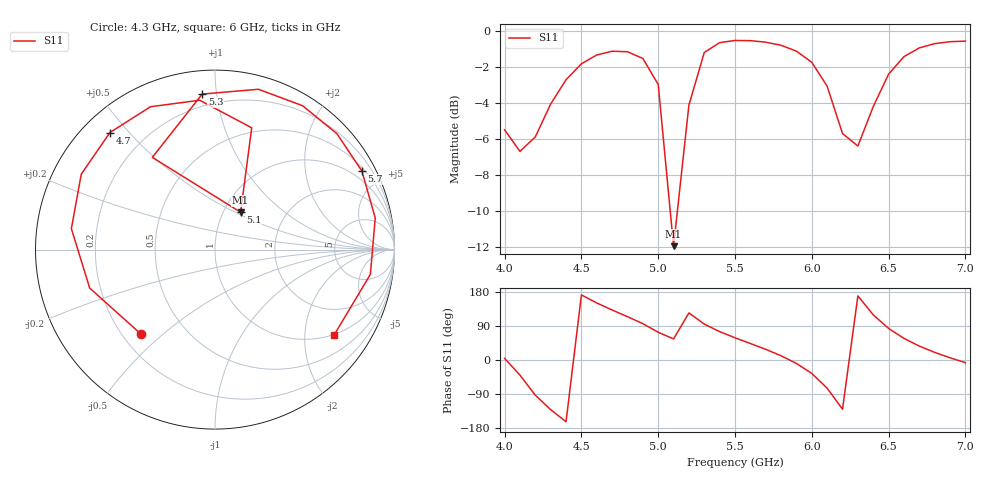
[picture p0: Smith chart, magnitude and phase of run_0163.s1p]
! Touchstone file exported from HFSS 2024.2.0
!  File:  C:/Users/wsak9/Desktop/Sim Fast/Widenad Patch/WP_AI_V1_sweep.aedt
!  Generated:  09:42:37 PM Oct 13, 2026
!  Design:  A1_model
!  Project:  WP_AI_V1_sweep
!  Setup:  Setup1
!  Solution:  Sweep
! Variables:
!  Air_gap = 3.4mm
!  Curve_Amp1 = 3.26
!  Curve_len1 = 1
!  Curve_pos = 11.685mm
!  Extra = 6.96mm
!  H_sub = 0.79mm
!  L_Patch = 19.37mm
!  L_Patch1 = 22.97mm
!  Sx = 2.25mm
!  Sy = 3.82mm
!  WS = 0.42mm
!  W_Patch = 15.57mm
!  W_Patch1 = 16.01mm
!Data is not renormalized
# GHz S MA
! Terminal data exported
! Port[1] = 1
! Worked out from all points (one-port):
!   31 points, 4 GHz to 7 GHz, reference per port
!   lowest |S11| = -12.0 dB at 5.1 GHz (marker M1), VSWR 1.68
!   |S11| at or under -10 dB: 5.078 GHz to 5.125 GHz (46.83 MHz wide, 0.918 % of centre)
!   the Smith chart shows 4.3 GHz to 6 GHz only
!   S11 on the Smith chart (normalised r, x): 4.3 GHz: 0.27, -0.43; 4.7 GHz: 0.08, +0.44; 5.1 GHz: 1.20, +0.54; 5.3 GHz: 0.13, +0.91; 5.7 GHz: 0.62, +3.90; 6 GHz: 0.99, -2.81
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4  0.5305 4.3
4.1  0.4622 -40.0
4.2  0.5072 -92.9
4.3  0.6257 -131.1
4.4  0.7303 -162.9
4.5  0.8086 171.7
4.6  0.8555 150.6
4.7  0.8763 131.9
4.8  0.8734 114.3
4.9  0.8366 95.9
5  0.7088 73.2
5.1  0.2525 55.6
5.2  0.6212 124.2
5.3  0.8695 94.7
5.4  0.9254 74.8
5.5  0.9385 58.7
5.7  0.9281 28.2
5.9  0.8766 -9.1
6  0.8165 -35.5
6.1  0.7007 -74.2
6.2  0.5182 -130.0
6.3  0.4784 169.1
6.4  0.6153 119.1
6.5  0.757 83.2
6.6  0.8464 57.0
6.7  0.895 36.7
6.8  0.9197 20.1
7  0.9348 -7.0
